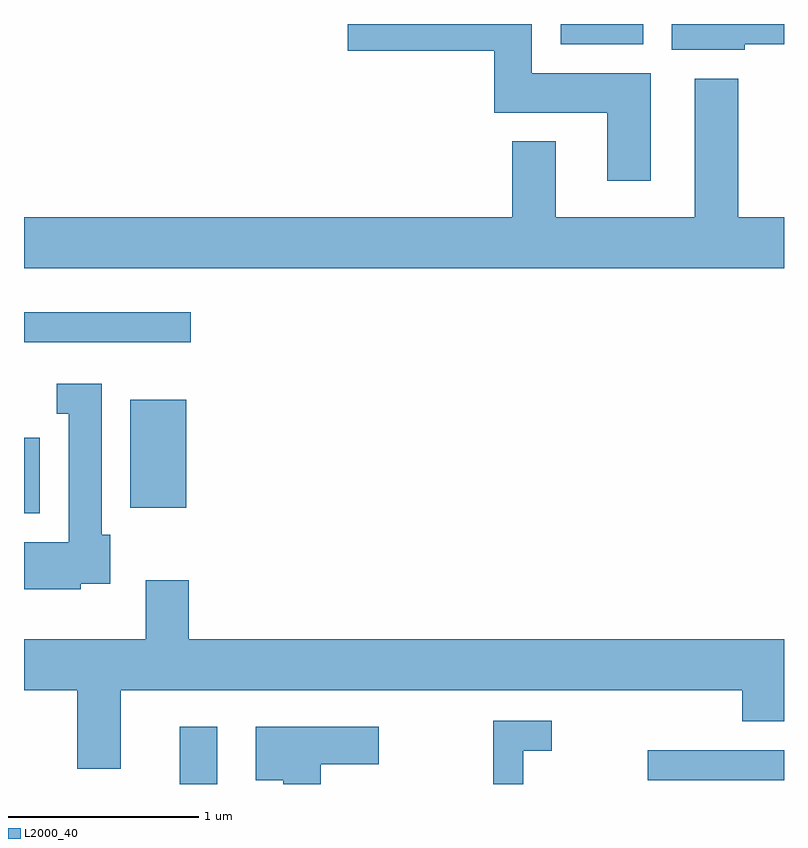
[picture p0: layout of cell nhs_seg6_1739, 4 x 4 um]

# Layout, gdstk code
import gdstk
lib = gdstk.Library(unit=1e-6, precision=1e-09)
def R(c, l, rs):  # rectangles x0, y0, x1, y1
    for r in rs: c.add(gdstk.rectangle(r[:2], r[2:], *l))
def P(c, l, *ps):  # polygons
    for p in ps: c.add(gdstk.Polygon(p, *l))
L2000_40 = (2000, 40)

nhs_seg6_1739 = lib.new_cell('nhs_seg6_1739')
R(nhs_seg6_1739, L2000_40, [(238.431,1596.162,238.629,1596.464), (240.893,1596.181,241.611,1596.339), (237.611,1597.586,237.694,1597.984), (238.171,1597.616,238.464,1598.184), (237.611,1598.486,238.488,1598.644), (240.436,1600.056,240.869,1600.162)])
P(nhs_seg6_1739, L2000_40, [(240.909,1599.904),(240.284,1599.904),(240.284,1600.162),(239.316,1600.162),(239.316,1600.021),(240.086,1600.021),(240.086,1599.696),(240.681,1599.696),(240.681,1599.336),(240.909,1599.336)],
  [(241.404,1600.056),(241.611,1600.056),(241.611,1600.162),(241.021,1600.162),(241.021,1600.026),(241.404,1600.026)],
  [(241.611,1599.144),(241.369,1599.144),(241.369,1599.874),(241.141,1599.874),(241.141,1599.144),(240.409,1599.144),(240.409,1599.544),(240.181,1599.544),(240.181,1599.144),(237.611,1599.144),(237.611,1598.876),(241.611,1598.876)],
  [(237.909,1597.216),(238.064,1597.216),(238.064,1597.474),(238.019,1597.474),(238.019,1598.269),(237.783,1598.269),(237.783,1598.111),(237.846,1598.111),(237.846,1597.434),(237.611,1597.434),(237.611,1597.186),(237.909,1597.186)],
  [(238.119,1596.656),(241.391,1596.656),(241.391,1596.491),(241.611,1596.491),(241.611,1596.924),(238.479,1596.924),(238.479,1597.234),(238.251,1597.234),(238.251,1596.924),(237.611,1596.924),(237.611,1596.656),(237.891,1596.656),(237.891,1596.241),(238.119,1596.241)],
  [(240.239,1596.336),(240.388,1596.336),(240.388,1596.494),(240.081,1596.494),(240.081,1596.162),(240.239,1596.162)],
  [(239.174,1596.266),(239.479,1596.266),(239.479,1596.464),(238.831,1596.464),(238.831,1596.181),(238.976,1596.181),(238.976,1596.162),(239.174,1596.162)])

lib.write_gds('nhs_seg6_1739.gds')
